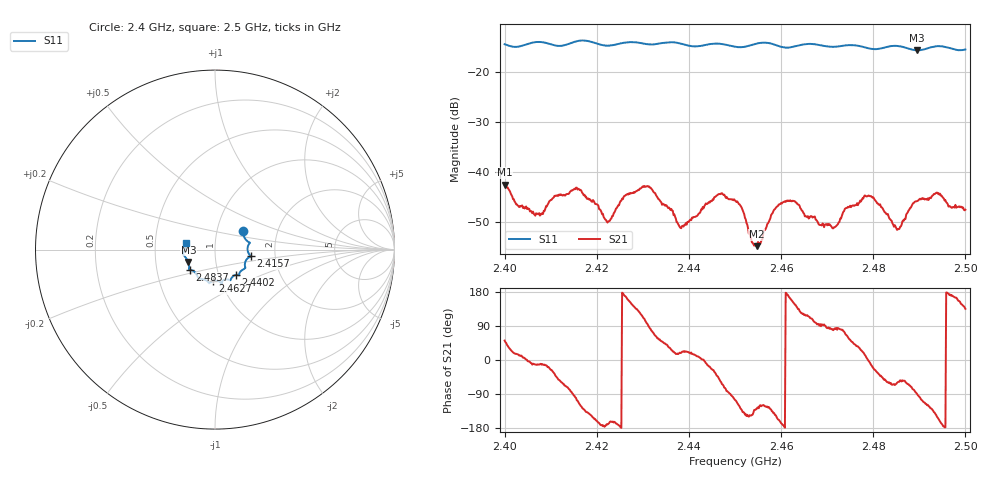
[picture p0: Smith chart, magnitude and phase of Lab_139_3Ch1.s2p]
# Hz S RI R 50
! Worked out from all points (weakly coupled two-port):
!   601 points, 2.4 GHz to 2.5 GHz, reference 50 ohm
!   highest |S21| = -42.52 dB at 2.4 GHz (marker M1); lowest = -54.8 dB at 2.4547 GHz (marker M2)
!   lowest |S11| = -15.7 dB at 2.4895 GHz (marker M3), VSWR 1.39, Z = 36.8 - j5.17 ohm
!   |S11| at or under -10 dB: start of sweep to end of sweep
!   S12 and S22 are empty: the file has one direction only
!   S11 on the Smith chart (normalised r, x): 2.4 GHz: 1.33, +0.29; 2.4157 GHz: 1.49, -0.11; 2.4402 GHz: 1.20, -0.35; 2.4627 GHz: 0.92, -0.34; 2.4837 GHz: 0.74, -0.17; 2.5 GHz: 0.72, +0.05
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2.4e9  0.156 0.1052  0.00468 0.00584  0 0  0 0
2.406833e9  0.194 0.0392  0.00378 -0.000817  0 0  0 0
2.415667e9  0.1985 -0.0365  -0.00195 -0.00669  0 0  0 0
2.416667e9  0.2011 -0.0397  -0.0035 -0.00544  0 0  0 0
2.422333e9  0.1693 -0.067  -0.00308 -0.000539  0 0  0 0
2.429833e9  0.1574 -0.1105  -0.00319 0.00631  0 0  0 0
2.433333e9  0.1357 -0.1338  0.00294 0.00451  0 0  0 0
2.438e9  0.13 -0.1415  0.00266 0.000932  0 0  0 0
2.440167e9  0.1145 -0.1406  0.00311 0.0011  0 0  0 0
2.446667e9  0.0841 -0.1707  0.00369 -0.00474  0 0  0 0
2.45e9  0.0637 -0.166  -0.00139 -0.00499  0 0  0 0
2.454667e9  0.0373 -0.1872  -0.00116 -0.00139  0 0  0 0
2.459e9  0.0295 -0.1812  -0.00386 -0.00223  0 0  0 0
2.462667e9  -0.0115 -0.177  -0.0045 0.00247  0 0  0 0
2.466667e9  -0.0332 -0.1865  -0.00119 0.00341  0 0  0 0
2.471667e9  -0.0643 -0.1655  0.000325 0.00279  0 0  0 0
2.478667e9  -0.1027 -0.1389  0.00569 0.000362  0 0  0 0
2.483333e9  -0.1386 -0.1124  0.00178 -0.00312  0 0  0 0
2.483667e9  -0.1405 -0.1121  0.00158 -0.00298  0 0  0 0
2.4855e9  -0.1449 -0.1072  0.00144 -0.00226  0 0  0 0
2.4895e9  -0.1486 -0.0684  4.78e-05 -0.00511  0 0  0 0
2.5e9  -0.163 0.0365  -0.00297 0.00297  0 0  0 0
